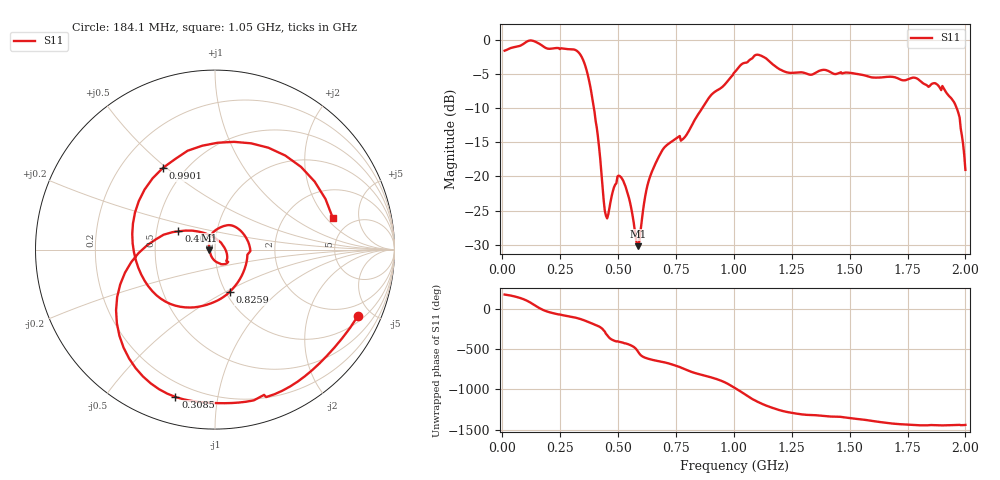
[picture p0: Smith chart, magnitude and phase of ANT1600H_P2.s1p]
!Created with skrf (http://scikit-rf.org).
# Hz S RI R 50.0
!freq ReS11 ImS11
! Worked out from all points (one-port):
!   401 points, 10 MHz to 2 GHz, reference 50 ohm
!   lowest |S11| = -30.2 dB at 587.1 MHz (marker M1), VSWR 1.06, Z = 47 - j0.192 ohm
!   |S11| at or under -10 dB: 395.6 MHz to 863.5 MHz (467.9 MHz wide, 74.3 % of centre); 1.962 GHz to end of sweep
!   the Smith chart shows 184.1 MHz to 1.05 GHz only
!   S11 on the Smith chart (normalised r, x): 184.1 MHz: 1.30, -4.18; 308.5 MHz: 0.13, -0.76; 408 MHz: 0.65, +0.14; 825.9 MHz: 1.04, -0.52; 990.1 MHz: 0.38, +0.49; 1.05 GHz: 3.65, +2.35
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1e7  -0.8305 0.058
6.97e7  -0.6845 0.5787
1.14475e8  0.0403 0.984
1.493e8  0.8562 0.4274
1.84125e8  0.7981 -0.3672
2.5875e8  0.1725 -0.8477
3.085e8  -0.2208 -0.8208
3.5825e8  -0.5513 -0.3378
4.08e8  -0.2038 0.1019
4.478e8  0.0335 0.039
5.075e8  0.0637 -0.0778
5.871e8  -0.0308 -0.00204
6.468e8  0.00409 0.109
7.5625e8  0.1911 0.0256
8.259e8  0.0812 -0.2361
9.1545e8  -0.3262 -0.2544
9.90075e8  -0.2899 0.4555
1.005e9  -0.0709 0.5788
1.0249e9  0.2973 0.5677
1.049775e9  0.6574 0.1733
1.079625e9  0.5704 -0.459
1.11445e9  0.0118 -0.7688
1.169175e9  -0.574 -0.3232
1.25375e9  -0.4873 0.3021
1.5025e9  0.0519 0.5706
1.75125e9  0.5128 0.0308
1.945275e9  0.3612 -0.0123
2e9  0.1116 0.000986
